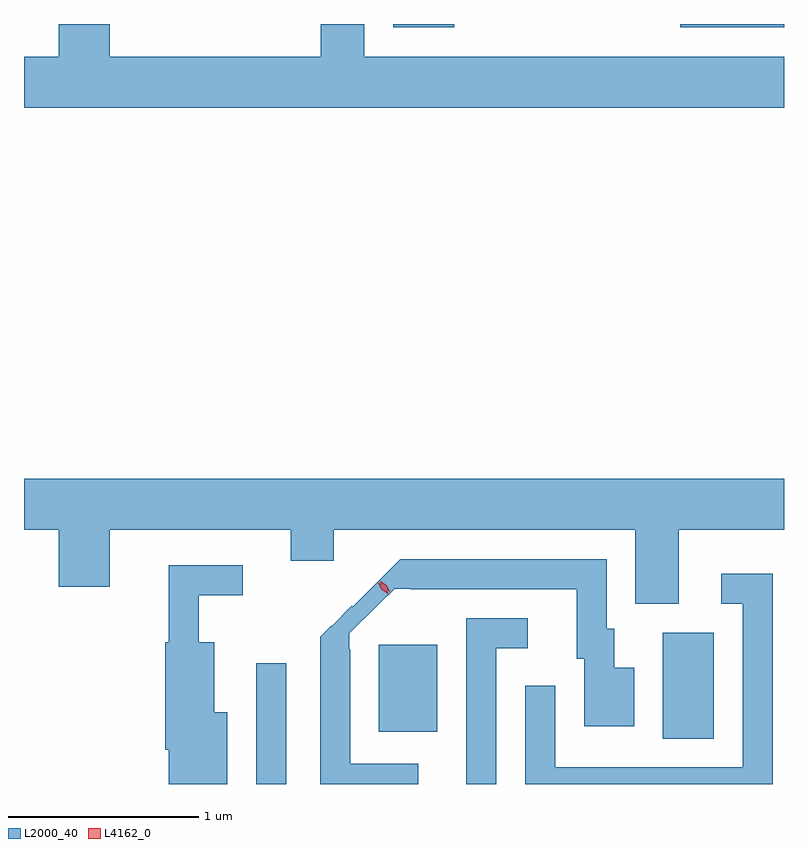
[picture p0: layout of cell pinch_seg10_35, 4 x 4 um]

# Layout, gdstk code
import gdstk
lib = gdstk.Library(unit=1e-6, precision=1e-09)
def R(c, l, rs):  # rectangles x0, y0, x1, y1
    for r in rs: c.add(gdstk.rectangle(r[:2], r[2:], *l))
def P(c, l, *ps):  # polygons
    for p in ps: c.add(gdstk.Polygon(p, *l))
L2000_40 = (2000, 40)
L4162_0 = (4162, 0)

pinch_seg10_35 = lib.new_cell('pinch_seg10_35')
R(pinch_seg10_35, L2000_40, [(595.736,2168.077,595.894,2168.713), (597.876,2168.316,598.144,2168.874), (596.381,2168.351,596.689,2168.809), (596.456,2172.061,596.778,2172.077), (597.966,2172.061,598.513,2172.077)])
P(pinch_seg10_35, L2000_40, [(598.513,2171.904),(596.304,2171.904),(596.304,2172.077),(596.076,2172.077),(596.076,2171.904),(594.964,2171.904),(594.964,2172.077),(594.696,2172.077),(594.696,2171.904),(594.513,2171.904),(594.513,2171.636),(598.513,2171.636)],
  [(597.959,2169.416),(598.513,2169.416),(598.513,2169.684),(594.513,2169.684),(594.513,2169.416),(594.696,2169.416),(594.696,2169.116),(594.964,2169.116),(594.964,2169.416),(595.916,2169.416),(595.916,2169.251),(596.144,2169.251),(596.144,2169.416),(597.731,2169.416),(597.731,2169.026),(597.959,2169.026)],
  [(596.588,2168.184),(596.229,2168.184),(596.229,2168.785),(596.225,2168.785),(596.225,2168.87),(596.382,2169.027),(596.384,2169.025),(596.464,2169.105),(596.545,2169.105),(596.545,2169.101),(597.421,2169.101),(597.421,2168.736),(597.461,2168.736),(597.461,2168.381),(597.724,2168.381),(597.724,2168.689),(597.619,2168.689),(597.619,2168.894),(597.579,2168.894),(597.579,2169.259),(596.494,2169.259),(596.428,2169.193),(596.427,2169.194),(596.242,2169.009),(596.238,2169.014),(596.132,2168.908),(596.13,2168.91),(596.071,2168.851),(596.071,2168.077),(596.588,2168.077)],
  [(595.584,2168.454),(595.514,2168.454),(595.514,2168.824),(595.434,2168.824),(595.434,2169.071),(595.663,2169.071),(595.663,2169.229),(595.276,2169.229),(595.276,2168.824),(595.256,2168.824),(595.256,2168.256),(595.276,2168.256),(595.276,2168.077),(595.584,2168.077)],
  [(598.454,2169.184),(598.183,2169.184),(598.183,2169.026),(598.296,2169.026),(598.296,2168.164),(597.309,2168.164),(597.309,2168.593),(597.151,2168.593),(597.151,2168.077),(598.454,2168.077)],
  [(596.999,2168.791),(597.163,2168.791),(597.163,2168.949),(596.841,2168.949),(596.841,2168.077),(596.999,2168.077)])
P(pinch_seg10_35, L4162_0, [(596.437,2169.088),(596.406,2169.109),(596.389,2169.142),(596.389,2169.143),(596.39,2169.143),(596.421,2169.122),(596.438,2169.088),(596.438,2169.088)],
  [(596.432,2169.075),(596.397,2169.1),(596.375,2169.138),(596.375,2169.139),(596.376,2169.139),(596.412,2169.114),(596.433,2169.075),(596.433,2169.075)])

lib.write_gds('pinch_seg10_35.gds')
